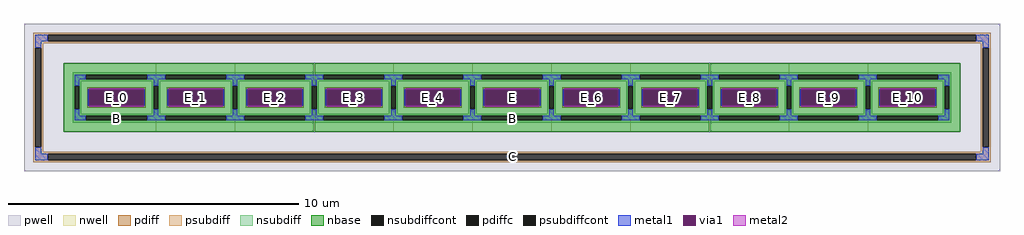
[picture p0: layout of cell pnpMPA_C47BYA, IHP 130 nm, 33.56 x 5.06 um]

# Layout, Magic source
magic
tech ihp-sg13cmos5l
magscale 1 2
<< nwell >>
rect -2450 -234 -2446 234
rect -1906 -234 -1902 234
rect -1362 -234 -1358 234
rect -818 -234 -814 234
rect -274 -234 -270 234
rect 270 -234 274 234
rect 814 -234 818 234
rect 1358 -234 1362 234
rect 1902 -234 1906 234
rect 2446 -234 2450 234
<< pwell >>
rect -3356 234 3356 506
rect -3356 -234 -3084 234
rect 3084 -234 3356 234
rect -3356 -506 3356 -234
<< nbase >>
rect -3084 -234 -2450 234
rect -2446 -234 -1906 234
rect -1902 -234 -1362 234
rect -1358 -234 -818 234
rect -814 -234 -274 234
rect -270 -234 270 234
rect 274 -234 814 234
rect 818 -234 1358 234
rect 1362 -234 1902 234
rect 1906 -234 2446 234
rect 2450 -234 3084 234
<< pdiff >>
rect -2920 56 -2520 70
rect -2920 -56 -2906 56
rect -2534 -56 -2520 56
rect -2920 -70 -2520 -56
rect -2376 56 -1976 70
rect -2376 -56 -2362 56
rect -1990 -56 -1976 56
rect -2376 -70 -1976 -56
rect -1832 56 -1432 70
rect -1832 -56 -1818 56
rect -1446 -56 -1432 56
rect -1832 -70 -1432 -56
rect -1288 56 -888 70
rect -1288 -56 -1274 56
rect -902 -56 -888 56
rect -1288 -70 -888 -56
rect -744 56 -344 70
rect -744 -56 -730 56
rect -358 -56 -344 56
rect -744 -70 -344 -56
rect -200 56 200 70
rect -200 -56 -186 56
rect 186 -56 200 56
rect -200 -70 200 -56
rect 344 56 744 70
rect 344 -56 358 56
rect 730 -56 744 56
rect 344 -70 744 -56
rect 888 56 1288 70
rect 888 -56 902 56
rect 1274 -56 1288 56
rect 888 -70 1288 -56
rect 1432 56 1832 70
rect 1432 -56 1446 56
rect 1818 -56 1832 56
rect 1432 -70 1832 -56
rect 1976 56 2376 70
rect 1976 -56 1990 56
rect 2362 -56 2376 56
rect 1976 -70 2376 -56
rect 2520 56 2920 70
rect 2520 -56 2534 56
rect 2906 -56 2920 56
rect 2520 -70 2920 -56
<< pdiffc >>
rect -2906 -56 -2534 56
rect -2362 -56 -1990 56
rect -1818 -56 -1446 56
rect -1274 -56 -902 56
rect -730 -56 -358 56
rect -186 -56 186 56
rect 358 -56 730 56
rect 902 -56 1274 56
rect 1446 -56 1818 56
rect 1990 -56 2362 56
rect 2534 -56 2906 56
<< psubdiff >>
rect -3294 430 3294 444
rect -3294 388 -3192 430
rect 3192 388 3294 430
rect -3294 374 3294 388
rect -3294 342 -3224 374
rect -3294 -342 -3280 342
rect -3238 -342 -3224 342
rect 3224 342 3294 374
rect -3294 -374 -3224 -342
rect 3224 -342 3238 342
rect 3280 -342 3294 342
rect 3224 -374 3294 -342
rect -3294 -388 3294 -374
rect -3294 -430 -3192 -388
rect 3192 -430 3294 -388
rect -3294 -444 3294 -430
<< nsubdiff >>
rect -3022 158 3022 172
rect -3022 126 -2930 158
rect -2510 126 -2386 158
rect -1966 126 -1842 158
rect -1422 126 -1298 158
rect -878 126 -754 158
rect -334 126 -210 158
rect 210 126 334 158
rect 754 126 878 158
rect 1298 126 1422 158
rect 1842 126 1966 158
rect 2386 126 2510 158
rect 2930 126 3022 158
rect -3022 112 3022 126
rect -3022 80 -2962 112
rect -3022 -80 -3008 80
rect -2976 -80 -2962 80
rect -2478 80 -2418 112
rect -3022 -112 -2962 -80
rect -2478 -80 -2464 80
rect -2432 -80 -2418 80
rect -1934 80 -1874 112
rect -2478 -112 -2418 -80
rect -1934 -80 -1920 80
rect -1888 -80 -1874 80
rect -1390 80 -1330 112
rect -1934 -112 -1874 -80
rect -1390 -80 -1376 80
rect -1344 -80 -1330 80
rect -846 80 -786 112
rect -1390 -112 -1330 -80
rect -846 -80 -832 80
rect -800 -80 -786 80
rect -302 80 -242 112
rect -846 -112 -786 -80
rect -302 -80 -288 80
rect -256 -80 -242 80
rect 242 80 302 112
rect -302 -112 -242 -80
rect 242 -80 256 80
rect 288 -80 302 80
rect 786 80 846 112
rect 242 -112 302 -80
rect 786 -80 800 80
rect 832 -80 846 80
rect 1330 80 1390 112
rect 786 -112 846 -80
rect 1330 -80 1344 80
rect 1376 -80 1390 80
rect 1874 80 1934 112
rect 1330 -112 1390 -80
rect 1874 -80 1888 80
rect 1920 -80 1934 80
rect 2418 80 2478 112
rect 1874 -112 1934 -80
rect 2418 -80 2432 80
rect 2464 -80 2478 80
rect 2962 80 3022 112
rect 2418 -112 2478 -80
rect 2962 -80 2976 80
rect 3008 -80 3022 80
rect 2962 -112 3022 -80
rect -3022 -126 3022 -112
rect -3022 -158 -2930 -126
rect -2510 -158 -2386 -126
rect -1966 -158 -1842 -126
rect -1422 -158 -1298 -126
rect -878 -158 -754 -126
rect -334 -158 -210 -126
rect 210 -158 334 -126
rect 754 -158 878 -126
rect 1298 -158 1422 -126
rect 1842 -158 1966 -126
rect 2386 -158 2510 -126
rect 2930 -158 3022 -126
rect -3022 -172 3022 -158
<< psubdiffcont >>
rect -3192 388 3192 430
rect -3280 -342 -3238 342
rect 3238 -342 3280 342
rect -3192 -430 3192 -388
<< nsubdiffcont >>
rect -2930 126 -2510 158
rect -2386 126 -1966 158
rect -1842 126 -1422 158
rect -1298 126 -878 158
rect -754 126 -334 158
rect -210 126 210 158
rect 334 126 754 158
rect 878 126 1298 158
rect 1422 126 1842 158
rect 1966 126 2386 158
rect 2510 126 2930 158
rect -3008 -80 -2976 80
rect -2464 -80 -2432 80
rect -1920 -80 -1888 80
rect -1376 -80 -1344 80
rect -832 -80 -800 80
rect -288 -80 -256 80
rect 256 -80 288 80
rect 800 -80 832 80
rect 1344 -80 1376 80
rect 1888 -80 1920 80
rect 2432 -80 2464 80
rect 2976 -80 3008 80
rect -2930 -158 -2510 -126
rect -2386 -158 -1966 -126
rect -1842 -158 -1422 -126
rect -1298 -158 -878 -126
rect -754 -158 -334 -126
rect -210 -158 210 -126
rect 334 -158 754 -126
rect 878 -158 1298 -126
rect 1422 -158 1842 -126
rect 1966 -158 2386 -126
rect 2510 -158 2930 -126
<< metal1 >>
rect -3280 388 -3192 430
rect 3192 388 3280 430
rect -3280 342 -3238 388
rect 3238 342 3280 388
rect -3008 126 -2930 158
rect -2510 126 -2386 158
rect -1966 126 -1842 158
rect -1422 126 -1298 158
rect -878 126 -754 158
rect -334 126 -210 158
rect 210 126 334 158
rect 754 126 878 158
rect 1298 126 1422 158
rect 1842 126 1966 158
rect 2386 126 2510 158
rect 2930 126 3008 158
rect -3008 80 -2976 126
rect -2464 80 -2432 126
rect -2916 56 -2524 57
rect -2916 -56 -2906 56
rect -2534 -56 -2524 56
rect -2916 -57 -2524 -56
rect -3008 -126 -2976 -80
rect -1920 80 -1888 126
rect -2372 56 -1980 57
rect -2372 -56 -2362 56
rect -1990 -56 -1980 56
rect -2372 -57 -1980 -56
rect -2464 -126 -2432 -80
rect -1376 80 -1344 126
rect -1828 56 -1436 57
rect -1828 -56 -1818 56
rect -1446 -56 -1436 56
rect -1828 -57 -1436 -56
rect -1920 -126 -1888 -80
rect -832 80 -800 126
rect -1284 56 -892 57
rect -1284 -56 -1274 56
rect -902 -56 -892 56
rect -1284 -57 -892 -56
rect -1376 -126 -1344 -80
rect -288 80 -256 126
rect -740 56 -348 57
rect -740 -56 -730 56
rect -358 -56 -348 56
rect -740 -57 -348 -56
rect -832 -126 -800 -80
rect 256 80 288 126
rect -196 56 196 57
rect -196 -56 -186 56
rect 186 -56 196 56
rect -196 -57 196 -56
rect -288 -126 -256 -80
rect 800 80 832 126
rect 348 56 740 57
rect 348 -56 358 56
rect 730 -56 740 56
rect 348 -57 740 -56
rect 256 -126 288 -80
rect 1344 80 1376 126
rect 892 56 1284 57
rect 892 -56 902 56
rect 1274 -56 1284 56
rect 892 -57 1284 -56
rect 800 -126 832 -80
rect 1888 80 1920 126
rect 1436 56 1828 57
rect 1436 -56 1446 56
rect 1818 -56 1828 56
rect 1436 -57 1828 -56
rect 1344 -126 1376 -80
rect 2432 80 2464 126
rect 1980 56 2372 57
rect 1980 -56 1990 56
rect 2362 -56 2372 56
rect 1980 -57 2372 -56
rect 1888 -126 1920 -80
rect 2976 80 3008 126
rect 2524 56 2916 57
rect 2524 -56 2534 56
rect 2906 -56 2916 56
rect 2524 -57 2916 -56
rect 2432 -126 2464 -80
rect 2976 -126 3008 -80
rect -3008 -158 -2930 -126
rect -2510 -158 -2386 -126
rect -1966 -158 -1842 -126
rect -1422 -158 -1298 -126
rect -878 -158 -754 -126
rect -334 -158 -210 -126
rect 210 -158 334 -126
rect 754 -158 878 -126
rect 1298 -158 1422 -126
rect 1842 -158 1966 -126
rect 2386 -158 2510 -126
rect 2930 -158 3008 -126
rect -3280 -388 -3238 -342
rect 3238 -388 3280 -342
rect -3280 -430 -3192 -388
rect 3192 -430 3280 -388
<< via1 >>
rect -2906 -56 -2534 56
rect -2362 -56 -1990 56
rect -1818 -56 -1446 56
rect -1274 -56 -902 56
rect -730 -56 -358 56
rect -186 -56 186 56
rect 358 -56 730 56
rect 902 -56 1274 56
rect 1446 -56 1818 56
rect 1990 -56 2362 56
rect 2534 -56 2906 56
<< metal2 >>
rect -2906 56 -2534 65
rect -2906 -65 -2534 -56
rect -2362 56 -1990 65
rect -2362 -65 -1990 -56
rect -1818 56 -1446 65
rect -1818 -65 -1446 -56
rect -1274 56 -902 65
rect -1274 -65 -902 -56
rect -730 56 -358 65
rect -730 -65 -358 -56
rect -186 56 186 65
rect -186 -65 186 -56
rect 358 56 730 65
rect 358 -65 730 -56
rect 902 56 1274 65
rect 902 -65 1274 -56
rect 1446 56 1818 65
rect 1446 -65 1818 -56
rect 1990 56 2362 65
rect 1990 -65 2362 -56
rect 2534 56 2906 65
rect 2534 -65 2906 -56
<< labels >>
rlabel nbase 0 -142 0 -142 0 B
port 1 nsew
rlabel nbase 0 0 0 0 0 E
port 2 nsew
rlabel psubdiffcont 0 -409 0 -409 0 C
port 3 nsew
rlabel nsubdiffcont -2720 -142 -2720 -142 0 B
port 1 nsew
rlabel pdiffc -2720 0 -2720 0 0 E_0
port 4 nsew
rlabel pdiffc -2176 0 -2176 0 0 E_1
port 5 nsew
rlabel pdiffc -1632 0 -1632 0 0 E_2
port 6 nsew
rlabel pdiffc -1088 0 -1088 0 0 E_3
port 7 nsew
rlabel pdiffc -544 0 -544 0 0 E_4
port 8 nsew
rlabel pdiffc 0 0 0 0 0 E_5
port 9 nsew
rlabel pdiffc 544 0 544 0 0 E_6
port 10 nsew
rlabel pdiffc 1088 0 1088 0 0 E_7
port 11 nsew
rlabel pdiffc 1632 0 1632 0 0 E_8
port 12 nsew
rlabel pdiffc 2176 0 2176 0 0 E_9
port 13 nsew
rlabel pdiffc 2720 0 2720 0 0 E_10
port 14 nsew
rlabel comment s 444 0 444 0 0 pnpMPA
<< properties >>
string FIXED_BBOX 2448 -142 2992 142
string gencell pnpMPA
string library sg13cmos5l
string parameters w 2.0 l 0.7 area 1.4 peri 5.4 nx 11 ny 1 dummy 0 lmin 0.7 wmin 2.0 class bjt elc 1 erc 1 etc 1 ebc 1 doverlap 1 doports 1 full_metal 1 vias 1 viagb 0 viagt 0 viagl 0 viagr 0
<< end >>
